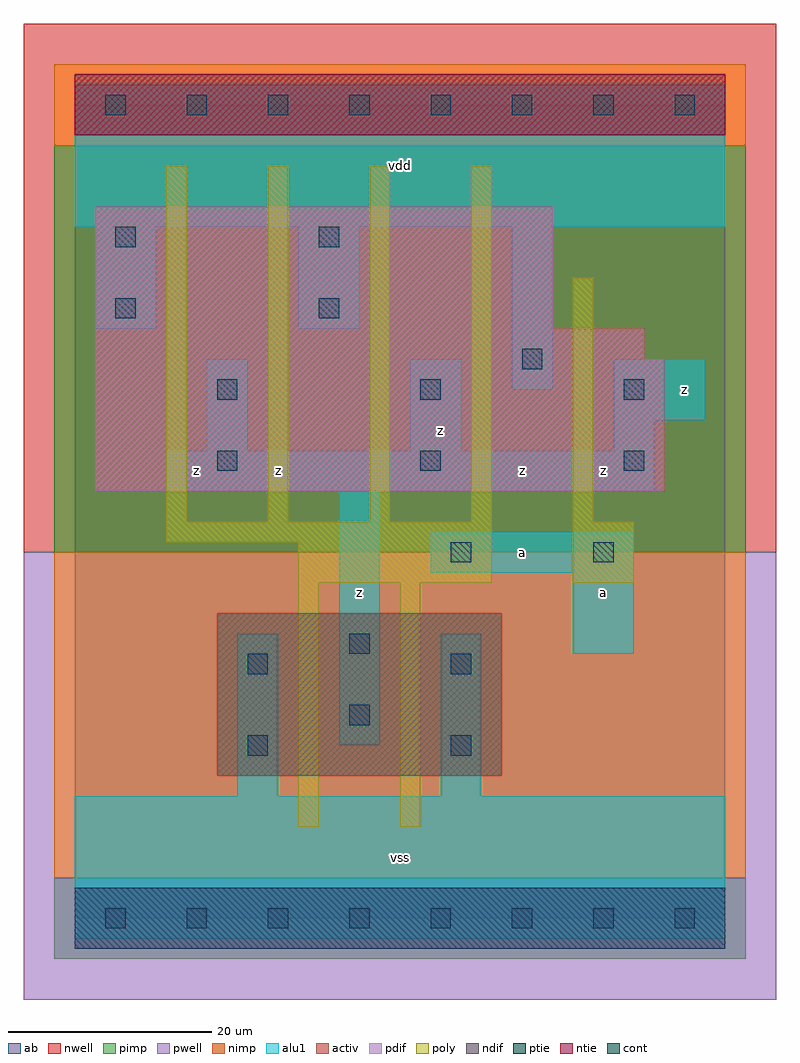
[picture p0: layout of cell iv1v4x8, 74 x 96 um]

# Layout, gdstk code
import gdstk
lib = gdstk.Library(unit=1e-6, precision=1e-09)
def R(c, l, rs):  # rectangles x0, y0, x1, y1
    for r in rs: c.add(gdstk.rectangle(r[:2], r[2:], *l))
def A(c, l, x, y, w, h, nx, ny, dx, dy):  # array of equal rectangles
    R(c, l, [(x+i*dx, y+j*dy, x+i*dx+w, y+j*dy+h) for i in range(nx) for j in range(ny)])
ndif = (3, 0)
pdif = (4, 0)
ntie = (5, 0)
ptie = (6, 0)
cont = (25, 0)
pwell = (41, 0)
nwell = (42, 0)
activ = (43, 0)
pimp = (44, 0)
nimp = (45, 0)
poly = (46, 0)
alu1 = (49, 0)
ab = (63, 0)

iv1v4x8 = lib.new_cell('iv1v4x8')
R(iv1v4x8, ndif, [(14,14,42,30)])
R(iv1v4x8, pdif, [(2,42,58,55), (2,55,56,58), (2,58,47,70)])
R(iv1v4x8, ntie, [(0,77,64,83)])
R(iv1v4x8, ptie, [(0,-3,64,3)])
A(iv1v4x8, cont, 3, -1, 2, 2, 8, 2, 8, 80)
A(iv1v4x8, cont, 14, 44, 2, 2, 3, 2, 20, 7)
R(iv1v4x8, cont, [(17,16,19,18), (37,16,39,18), (27,19,29,21), (17,24,19,26), (37,24,39,26), (27,26,29,28), (37,35,39,37), (51,35,53,37), (44,54,46,56), (4,59,6,61), (24,59,26,61), (4,66,6,68), (24,66,26,68)])
R(iv1v4x8, pwell, [(-5,-8,69,36)])
R(iv1v4x8, nwell, [(-5,36,69,88)])
R(iv1v4x8, activ, [(0,-3,64,3), (14,14,42,30), (2,42,58,55), (2,55,56,58), (2,58,47,70), (0,77,64,83)])
R(iv1v4x8, pimp, [(-2,-4,66,4), (-2,36,66,76)])
R(iv1v4x8, nimp, [(-2,4,66,36), (-2,76,66,84)])
A(iv1v4x8, poly, 9, 39, 2, 35, 4, 1, 10, 0)
R(iv1v4x8, poly, [(22,9,24,33), (32,9,34,33), (22,33,41,37), (49,33,55,39), (9,37,41,39), (49,39,51,63)])
R(iv1v4x8, alu1, [(0,-2,64,12), (16,12,20,28), (36,12,40,28), (26,17,30,42), (49,26,55,34), (35,34,55,38), (9,42,57,46), (13,46,17,55), (33,46,38,55), (53,46,57,49), (53,49,62,55), (43,52,47,68), (2,58,8,68), (22,58,28,68), (0,68,64,82)])
R(iv1v4x8, ab, [(0,0,64,80)])
iv1v4x8.add(gdstk.Label('z', (12,44), layer=49, texttype=0))
iv1v4x8.add(gdstk.Label('z', (28,32), layer=49, texttype=0))
iv1v4x8.add(gdstk.Label('z', (20,44), layer=49, texttype=0))
iv1v4x8.add(gdstk.Label('vss', (32,6), layer=49, texttype=0))
iv1v4x8.add(gdstk.Label('a', (44,36), layer=49, texttype=0))
iv1v4x8.add(gdstk.Label('z', (44,44), layer=49, texttype=0))
iv1v4x8.add(gdstk.Label('z', (36,48), layer=49, texttype=0))
iv1v4x8.add(gdstk.Label('vdd', (32,74), layer=49, texttype=0))
iv1v4x8.add(gdstk.Label('a', (52,32), layer=49, texttype=0))
iv1v4x8.add(gdstk.Label('z', (52,44), layer=49, texttype=0))
iv1v4x8.add(gdstk.Label('z', (60,52), layer=49, texttype=0))

lib.write_gds('iv1v4x8.gds')
